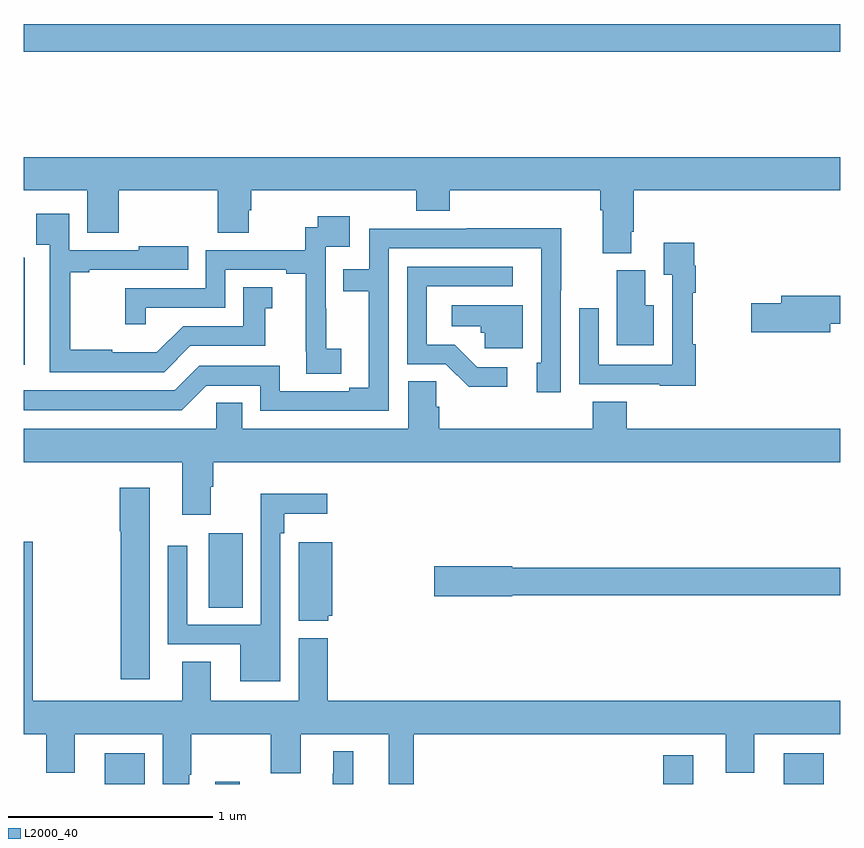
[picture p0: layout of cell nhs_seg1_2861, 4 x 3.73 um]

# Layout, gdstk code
import gdstk
lib = gdstk.Library(unit=1e-6, precision=1e-09)
def R(c, l, rs):  # rectangles x0, y0, x1, y1
    for r in rs: c.add(gdstk.rectangle(r[:2], r[2:], *l))
def P(c, l, *ps):  # polygons
    for p in ps: c.add(gdstk.Polygon(p, *l))
L2000_40 = (2000, 40)

nhs_seg1_2861 = lib.new_cell('nhs_seg1_2861')
R(nhs_seg1_2861, L2000_40, [(267.395,506.199,267.591,506.35), (267.938,506.199,268.057,506.209), (270.134,506.199,270.28,506.341), (270.725,506.199,270.921,506.35), (267.905,507.064,268.072,507.427), (267,509.788,271,509.924)])
P(nhs_seg1_2861, L2000_40, [(267,509.108),(267.311,509.108),(267.311,508.9),(267.464,508.9),(267.464,509.108),(267.95,509.108),(267.95,508.9),(268.102,508.9),(268.102,509.01),(268.115,509.01),(268.115,509.108),(268.922,509.108),(268.922,509.009),(269.087,509.009),(269.087,509.108),(269.825,509.108),(269.825,509.012),(269.837,509.012),(269.837,508.801),(269.977,508.801),(269.977,508.906),(269.99,508.906),(269.99,509.108),(271,509.108),(271,509.272),(267,509.272)],
  [(267.816,508.347),(268.183,508.347),(268.183,508.531),(268.216,508.531),(268.216,508.634),(268.076,508.634),(268.076,508.443),(267.78,508.443),(267.652,508.315),(267.434,508.315),(267.434,508.327),(267.227,508.327),(267.227,508.707),(267.319,508.707),(267.319,508.719),(267.806,508.719),(267.806,508.834),(267.563,508.834),(267.563,508.815),(267.222,508.815),(267.222,508.993),(267.061,508.993),(267.061,508.841),(267.126,508.841),(267.126,508.218),(267.687,508.218)],
  [(268.555,508.332),(268.481,508.332),(268.481,508.529),(268.479,508.529),(268.479,508.833),(268.597,508.833),(268.597,508.981),(268.441,508.981),(268.441,508.929),(268.378,508.929),(268.378,508.815),(267.891,508.815),(267.891,508.629),(267.496,508.629),(267.496,508.452),(267.597,508.452),(267.597,508.533),(267.987,508.533),(267.987,508.719),(268.286,508.719),(268.286,508.699),(268.382,508.699),(268.382,508.321),(268.384,508.321),(268.384,508.21),(268.555,508.21)],
  [(268.788,508.824),(269.535,508.824),(269.535,508.263),(269.513,508.263),(269.513,508.119),(269.631,508.119),(269.631,508.618),(269.633,508.618),(269.633,508.922),(269.17,508.922),(269.17,508.92),(268.692,508.92),(268.692,508.722),(268.564,508.722),(268.564,508.614),(268.691,508.614),(268.691,508.14),(268.595,508.14),(268.595,508.125),(268.254,508.125),(268.254,508.248),(267.858,508.248),(267.738,508.128),(267,508.128),(267,508.032),(267.774,508.032),(267.894,508.152),(268.158,508.152),(268.158,508.029),(268.788,508.029)],
  [(270.293,508.355),(270.278,508.355),(270.278,508.607),(270.293,508.607),(270.293,508.739),(270.286,508.739),(270.286,508.852),(270.137,508.852),(270.137,508.696),(270.177,508.696),(270.177,508.254),(269.817,508.254),(269.817,508.531),(269.721,508.531),(269.721,508.158),(270.117,508.158),(270.117,508.151),(270.293,508.151)],
  [(267.003,508.778),(267,508.781),(267,508.254),(267.003,508.254)],
  [(269.368,508.242),(269.223,508.242),(269.112,508.353),(268.974,508.353),(268.974,508.638),(269.395,508.638),(269.395,508.734),(268.878,508.734),(268.878,508.257),(269.067,508.257),(269.18,508.145),(269.368,508.145)],
  [(270.088,508.546),(270.046,508.546),(270.046,508.716),(269.906,508.716),(269.906,508.349),(270.088,508.349)],
  [(270.952,508.456),(271,508.456),(271,508.592),(270.713,508.592),(270.713,508.556),(270.564,508.556),(270.564,508.414),(270.952,508.414)],
  [(269.446,508.546),(269.097,508.546),(269.097,508.442),(269.24,508.442),(269.24,508.41),(269.259,508.41),(269.259,508.335),(269.446,508.335)],
  [(267.916,507.656),(267.929,507.656),(267.929,507.776),(271,507.776),(271,507.94),(269.954,507.94),(269.954,508.073),(269.789,508.073),(269.789,507.94),(269.036,507.94),(269.036,508.049),(269.022,508.049),(269.022,508.172),(268.883,508.172),(268.883,507.94),(268.069,507.94),(268.069,508.067),(267.942,508.067),(267.942,507.94),(267,507.94),(267,507.776),(267.776,507.776),(267.776,507.519),(267.916,507.519)],
  [(267.616,507.652),(267.47,507.652),(267.47,507.439),(267.475,507.439),(267.475,506.712),(267.616,506.712)],
  [(268.257,507.428),(268.277,507.428),(268.277,507.524),(268.486,507.524),(268.486,507.622),(268.161,507.622),(268.161,506.979),(267.801,506.979),(267.801,507.367),(267.705,507.367),(267.705,506.883),(268.061,506.883),(268.061,506.702),(268.257,506.702)],
  [(267.811,506.245),(267.819,506.245),(267.819,506.444),(268.21,506.444),(268.21,506.252),(268.357,506.252),(268.357,506.444),(268.787,506.444),(268.787,506.199),(268.91,506.199),(268.91,506.444),(270.44,506.444),(270.44,506.254),(270.58,506.254),(270.58,506.444),(271,506.444),(271,506.608),(268.49,506.608),(268.49,506.914),(268.346,506.914),(268.346,506.608),(267.916,506.608),(267.916,506.798),(267.776,506.798),(267.776,506.608),(267.042,506.608),(267.042,507.387),(267,507.387),(267,506.444),(267.11,506.444),(267.11,506.254),(267.25,506.254),(267.25,506.444),(267.68,506.444),(267.68,506.199),(267.811,506.199)],
  [(268.491,507.024),(268.51,507.024),(268.51,507.385),(268.346,507.385),(268.346,506.999),(268.491,506.999)],
  [(269.394,507.124),(271,507.124),(271,507.26),(269.394,507.26),(269.394,507.266),(269.01,507.266),(269.01,507.119),(269.394,507.119)],
  [(268.615,506.359),(268.517,506.359),(268.517,506.249),(268.513,506.249),(268.513,506.199),(268.615,506.199)])

lib.write_gds('nhs_seg1_2861.gds')
